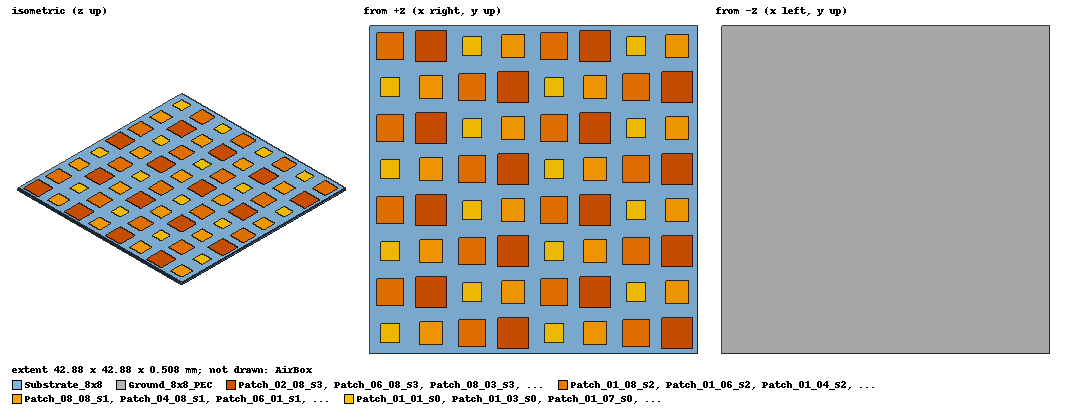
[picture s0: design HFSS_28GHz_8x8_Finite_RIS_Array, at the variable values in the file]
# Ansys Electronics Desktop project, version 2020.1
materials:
  vacuum: permittivity=1
  air: permittivity=1.0006 permeability=1.0000004
  Rogers RT/duroid 5880 (tm): permittivity=2.2 dielectric_loss_tangent=0.0009
  copper: permeability=0.999991 conductivity=58000000

design HFSS_28GHz_8x8_Finite_RIS_Array (HFSS, DrivenModal, model units mm)
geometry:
  AirBox [air] = box(corner=(-29.44mm, -29.44mm, -6.508mm), size=(58.88mm, 58.88mm, 30.508mm))
  Substrate_8x8 [Rogers RT/duroid 5880 (tm)] = box(corner=(-21.44mm, -21.44mm, -0.508mm), size=(42.88mm, 42.88mm, 0.508mm))
  Ground_8x8_PEC [copper] = rectangle(corner=(-21.44mm, -21.44mm, -0.508mm), x_size=42.88mm, y_size=42.88mm)
  Patch_01_01_S0 [copper] = rectangle(corner=(-19.985mm, -19.985mm, 0mm), x_size=2.45mm, y_size=2.45mm)
  Patch_01_02_S2 [copper] = rectangle(corner=(-20.485mm, -15.125mm, 0mm), x_size=3.45mm, y_size=3.45mm)
  Patch_01_03_S0 [copper] = rectangle(corner=(-19.985mm, -9.265mm, 0mm), x_size=2.45mm, y_size=2.45mm)
  Patch_01_04_S2 [copper] = rectangle(corner=(-20.485mm, -4.405mm, 0mm), x_size=3.45mm, y_size=3.45mm)
  Patch_01_05_S0 [copper] = rectangle(corner=(-19.985mm, 1.455mm, 0mm), x_size=2.45mm, y_size=2.45mm)
  Patch_01_06_S2 [copper] = rectangle(corner=(-20.485mm, 6.315mm, 0mm), x_size=3.45mm, y_size=3.45mm)
  Patch_01_07_S0 [copper] = rectangle(corner=(-19.985mm, 12.175mm, 0mm), x_size=2.45mm, y_size=2.45mm)
  Patch_01_08_S2 [copper] = rectangle(corner=(-20.485mm, 17.035mm, 0mm), x_size=3.45mm, y_size=3.45mm)
  Patch_02_01_S1 [copper] = rectangle(corner=(-14.875mm, -20.235mm, 0mm), x_size=2.95mm, y_size=2.95mm)
  Patch_02_02_S3 [copper] = rectangle(corner=(-15.375mm, -15.375mm, 0mm), x_size=3.95mm, y_size=3.95mm)
  Patch_02_03_S1 [copper] = rectangle(corner=(-14.875mm, -9.515mm, 0mm), x_size=2.95mm, y_size=2.95mm)
  Patch_02_04_S3 [copper] = rectangle(corner=(-15.375mm, -4.655mm, 0mm), x_size=3.95mm, y_size=3.95mm)
  Patch_02_05_S1 [copper] = rectangle(corner=(-14.875mm, 1.205mm, 0mm), x_size=2.95mm, y_size=2.95mm)
  Patch_02_06_S3 [copper] = rectangle(corner=(-15.375mm, 6.065mm, 0mm), x_size=3.95mm, y_size=3.95mm)
  Patch_02_07_S1 [copper] = rectangle(corner=(-14.875mm, 11.925mm, 0mm), x_size=2.95mm, y_size=2.95mm)
  Patch_02_08_S3 [copper] = rectangle(corner=(-15.375mm, 16.785mm, 0mm), x_size=3.95mm, y_size=3.95mm)
  Patch_03_01_S2 [copper] = rectangle(corner=(-9.765mm, -20.485mm, 0mm), x_size=3.45mm, y_size=3.45mm)
  Patch_03_02_S0 [copper] = rectangle(corner=(-9.265mm, -14.625mm, 0mm), x_size=2.45mm, y_size=2.45mm)
  Patch_03_03_S2 [copper] = rectangle(corner=(-9.765mm, -9.765mm, 0mm), x_size=3.45mm, y_size=3.45mm)
  Patch_03_04_S0 [copper] = rectangle(corner=(-9.265mm, -3.905mm, 0mm), x_size=2.45mm, y_size=2.45mm)
  Patch_03_05_S2 [copper] = rectangle(corner=(-9.765mm, 0.955mm, 0mm), x_size=3.45mm, y_size=3.45mm)
  Patch_03_06_S0 [copper] = rectangle(corner=(-9.265mm, 6.815mm, 0mm), x_size=2.45mm, y_size=2.45mm)
  Patch_03_07_S2 [copper] = rectangle(corner=(-9.765mm, 11.675mm, 0mm), x_size=3.45mm, y_size=3.45mm)
  Patch_03_08_S0 [copper] = rectangle(corner=(-9.265mm, 17.535mm, 0mm), x_size=2.45mm, y_size=2.45mm)
  Patch_04_01_S3 [copper] = rectangle(corner=(-4.655mm, -20.735mm, 0mm), x_size=3.95mm, y_size=3.95mm)
  Patch_04_02_S1 [copper] = rectangle(corner=(-4.155mm, -14.875mm, 0mm), x_size=2.95mm, y_size=2.95mm)
  Patch_04_03_S3 [copper] = rectangle(corner=(-4.655mm, -10.015mm, 0mm), x_size=3.95mm, y_size=3.95mm)
  Patch_04_04_S1 [copper] = rectangle(corner=(-4.155mm, -4.155mm, 0mm), x_size=2.95mm, y_size=2.95mm)
  Patch_04_05_S3 [copper] = rectangle(corner=(-4.655mm, 0.705mm, 0mm), x_size=3.95mm, y_size=3.95mm)
  Patch_04_06_S1 [copper] = rectangle(corner=(-4.155mm, 6.565mm, 0mm), x_size=2.95mm, y_size=2.95mm)
  Patch_04_07_S3 [copper] = rectangle(corner=(-4.655mm, 11.425mm, 0mm), x_size=3.95mm, y_size=3.95mm)
  Patch_04_08_S1 [copper] = rectangle(corner=(-4.155mm, 17.285mm, 0mm), x_size=2.95mm, y_size=2.95mm)
  Patch_05_01_S0 [copper] = rectangle(corner=(1.455mm, -19.985mm, 0mm), x_size=2.45mm, y_size=2.45mm)
  Patch_05_02_S2 [copper] = rectangle(corner=(0.955mm, -15.125mm, 0mm), x_size=3.45mm, y_size=3.45mm)
  Patch_05_03_S0 [copper] = rectangle(corner=(1.455mm, -9.265mm, 0mm), x_size=2.45mm, y_size=2.45mm)
  Patch_05_04_S2 [copper] = rectangle(corner=(0.955mm, -4.405mm, 0mm), x_size=3.45mm, y_size=3.45mm)
  Patch_05_05_S0 [copper] = rectangle(corner=(1.455mm, 1.455mm, 0mm), x_size=2.45mm, y_size=2.45mm)
  Patch_05_06_S2 [copper] = rectangle(corner=(0.955mm, 6.315mm, 0mm), x_size=3.45mm, y_size=3.45mm)
  Patch_05_07_S0 [copper] = rectangle(corner=(1.455mm, 12.175mm, 0mm), x_size=2.45mm, y_size=2.45mm)
  Patch_05_08_S2 [copper] = rectangle(corner=(0.955mm, 17.035mm, 0mm), x_size=3.45mm, y_size=3.45mm)
  Patch_06_01_S1 [copper] = rectangle(corner=(6.565mm, -20.235mm, 0mm), x_size=2.95mm, y_size=2.95mm)
  Patch_06_02_S3 [copper] = rectangle(corner=(6.065mm, -15.375mm, 0mm), x_size=3.95mm, y_size=3.95mm)
  Patch_06_03_S1 [copper] = rectangle(corner=(6.565mm, -9.515mm, 0mm), x_size=2.95mm, y_size=2.95mm)
  Patch_06_04_S3 [copper] = rectangle(corner=(6.065mm, -4.655mm, 0mm), x_size=3.95mm, y_size=3.95mm)
  Patch_06_05_S1 [copper] = rectangle(corner=(6.565mm, 1.205mm, 0mm), x_size=2.95mm, y_size=2.95mm)
  Patch_06_06_S3 [copper] = rectangle(corner=(6.065mm, 6.065mm, 0mm), x_size=3.95mm, y_size=3.95mm)
  Patch_06_07_S1 [copper] = rectangle(corner=(6.565mm, 11.925mm, 0mm), x_size=2.95mm, y_size=2.95mm)
  Patch_06_08_S3 [copper] = rectangle(corner=(6.065mm, 16.785mm, 0mm), x_size=3.95mm, y_size=3.95mm)
  Patch_07_01_S2 [copper] = rectangle(corner=(11.675mm, -20.485mm, 0mm), x_size=3.45mm, y_size=3.45mm)
  Patch_07_02_S0 [copper] = rectangle(corner=(12.175mm, -14.625mm, 0mm), x_size=2.45mm, y_size=2.45mm)
  Patch_07_03_S2 [copper] = rectangle(corner=(11.675mm, -9.765mm, 0mm), x_size=3.45mm, y_size=3.45mm)
  Patch_07_04_S0 [copper] = rectangle(corner=(12.175mm, -3.905mm, 0mm), x_size=2.45mm, y_size=2.45mm)
  Patch_07_05_S2 [copper] = rectangle(corner=(11.675mm, 0.955mm, 0mm), x_size=3.45mm, y_size=3.45mm)
  Patch_07_06_S0 [copper] = rectangle(corner=(12.175mm, 6.815mm, 0mm), x_size=2.45mm, y_size=2.45mm)
  Patch_07_07_S2 [copper] = rectangle(corner=(11.675mm, 11.675mm, 0mm), x_size=3.45mm, y_size=3.45mm)
  Patch_07_08_S0 [copper] = rectangle(corner=(12.175mm, 17.535mm, 0mm), x_size=2.45mm, y_size=2.45mm)
  Patch_08_01_S3 [copper] = rectangle(corner=(16.785mm, -20.735mm, 0mm), x_size=3.95mm, y_size=3.95mm)
  Patch_08_02_S1 [copper] = rectangle(corner=(17.285mm, -14.875mm, 0mm), x_size=2.95mm, y_size=2.95mm)
  Patch_08_03_S3 [copper] = rectangle(corner=(16.785mm, -10.015mm, 0mm), x_size=3.95mm, y_size=3.95mm)
  Patch_08_04_S1 [copper] = rectangle(corner=(17.285mm, -4.155mm, 0mm), x_size=2.95mm, y_size=2.95mm)
  Patch_08_05_S3 [copper] = rectangle(corner=(16.785mm, 0.705mm, 0mm), x_size=3.95mm, y_size=3.95mm)
  Patch_08_06_S1 [copper] = rectangle(corner=(17.285mm, 6.565mm, 0mm), x_size=2.95mm, y_size=2.95mm)
  Patch_08_07_S3 [copper] = rectangle(corner=(16.785mm, 11.425mm, 0mm), x_size=3.95mm, y_size=3.95mm)
  Patch_08_08_S1 [copper] = rectangle(corner=(17.285mm, 17.285mm, 0mm), x_size=2.95mm, y_size=2.95mm)
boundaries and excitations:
  PEC_RIS_Metals: Perfect E Objects=[Ground_8x8_PEC, Patch_01_01_S0, Patch_01_02_S2, Patch_01_03_S0, Patch_01_04_S2, Patch_01_05_S0, Patch_01_06_S2, Patch_01_07_S0, Patch_01_08_S2, Patch_02_01_S1, Patch_02_02_S3, Patch_02_03_S1, Patch_02_04_S3, Patch_02_05_S1, Patch_02_06_S3, Patch_02_07_S1, Patch_02_08_S3, Patch_03_01_S2, Patch_03_02_S0, Patch_03_03_S2, Patch_03_04_S0, Patch_03_05_S2, Patch_03_06_S0, Patch_03_07_S2, Patch_03_08_S0, Patch_04_01_S3, Patch_04_02_S1, Patch_04_03_S3, Patch_04_04_S1, Patch_04_05_S3, Patch_04_06_S1, Patch_04_07_S3, Patch_04_08_S1, Patch_05_01_S0, Patch_05_02_S2, Patch_05_03_S0, Patch_05_04_S2, Patch_05_05_S0, Patch_05_06_S2, Patch_05_07_S0, Patch_05_08_S2, Patch_06_01_S1, Patch_06_02_S3, Patch_06_03_S1, Patch_06_04_S3, Patch_06_05_S1, Patch_06_06_S3, Patch_06_07_S1, Patch_06_08_S3, Patch_07_01_S2, Patch_07_02_S0, Patch_07_03_S2, Patch_07_04_S0, Patch_07_05_S2, Patch_07_06_S0, Patch_07_07_S2, Patch_07_08_S0, Patch_08_01_S3, Patch_08_02_S1, Patch_08_03_S3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]
  Rad_AirBox: Radiation Objects=AirBox
  PW_Normal_Incidence: Plane Incident Wave Objects=AirBox IsCartesian EoX=1V_per_meter EoY=0V_per_meter EoZ=0V_per_meter kX=0 kY=0 kZ=-1 OriginX=0mm OriginY=0mm OriginZ=12mm IsPropagating
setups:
  Setup1: HfssDriven Frequency=28GHz MaxDeltaE=0.1 MaximumPasses=1 MinimumPasses=1 MinimumConvergedPasses=1 PercentRefinement=5 BasisOrder=1
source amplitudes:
  PW_Normal_Incidence:1: 1 0deg
